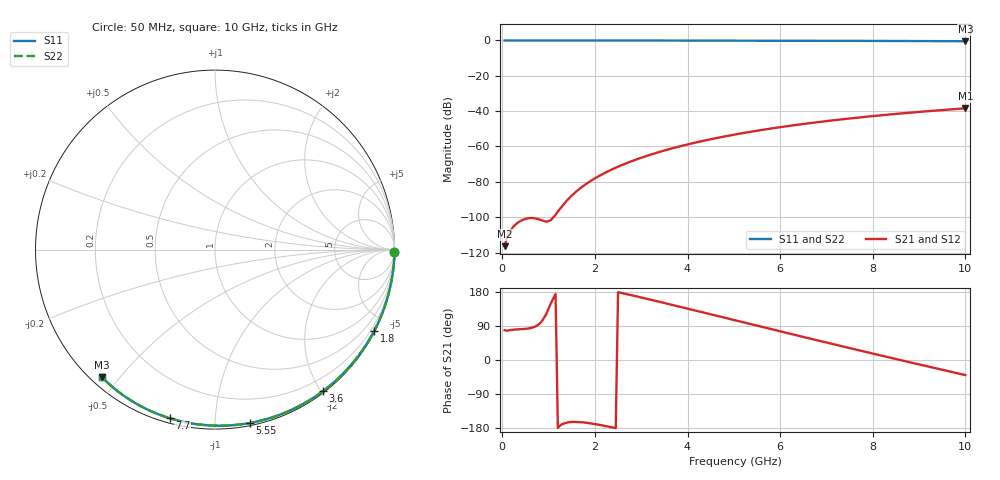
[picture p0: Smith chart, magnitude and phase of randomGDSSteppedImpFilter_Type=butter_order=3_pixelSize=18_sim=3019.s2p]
! freq	dB(S11)	phase(S11)	dB(S12)	phase(S12)
!  dB(S21)	phase(S21)	dB(S22)	phase(S22)
!S-par simulation data
#  GHz  S  DB  R 50
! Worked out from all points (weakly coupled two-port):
!   200 points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, 50 MHz to 10 GHz, reference 50 ohm
!   highest |S21| = -38.41 dB at 10 GHz (marker M1); lowest = -116.4 dB at 50 MHz (marker M2)
!   lowest |S11| = -0.4 dB at 10 GHz (marker M3), VSWR 39.07, Z = 1.54 - j22.5 ohm
!   |S11| at or under -10 dB: nowhere
!   |S22| runs from -0.4 to 0.0 dB; largest |S21 - S12| = 0
!   S11 on the Smith chart (normalised r, x): 50 MHz: open; 1.8 GHz: 0.04, -4.17; 3.6 GHz: 0.02, -2.02; 5.55 GHz: 0.02, -1.22; 7.7 GHz: 0.02, -0.77; 10 GHz: 0.03, -0.45
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0.05  -0.00 -0.8  -116.40 78.7  -116.40 78.7  -0.00 -0.8
0.9  -0.02 -13.6  -102.20 111.0  -102.20 111.0  -0.02 -13.6
1.75  -0.03 -26.2  -82.31 -164.6  -82.31 -164.6  -0.03 -26.2
1.8  -0.03 -26.9  -81.37 -165.4  -81.37 -165.4  -0.03 -26.9
1.85  -0.04 -27.7  -80.49 -166.1  -80.49 -166.1  -0.04 -27.7
1.9  -0.04 -28.4  -79.63 -167.0  -79.63 -167.0  -0.04 -28.4
2.05  -0.04 -30.6  -77.26 -170.0  -77.26 -170.0  -0.04 -30.6
2.25  -0.04 -33.5  -74.46 -174.7  -74.46 -174.7  -0.04 -33.5
2.45  -0.05 -36.4  -71.99 -179.8  -71.99 -179.8  -0.05 -36.4
2.65  -0.05 -39.3  -69.77 174.9  -69.77 174.9  -0.05 -39.3
3  -0.06 -44.3  -66.36 165.0  -66.36 165.0  -0.06 -44.3
3.4  -0.07 -49.9  -63.02 153.4  -63.02 153.4  -0.07 -49.9
3.6  -0.07 -52.7  -61.53 147.5  -61.53 147.5  -0.07 -52.7
4.3  -0.09 -62.3  -57.03 126.6  -57.03 126.6  -0.09 -62.3
5.05  -0.11 -72.2  -53.10 104.1  -53.10 104.1  -0.11 -72.2
5.55  -0.13 -78.7  -50.87 89.1  -50.87 89.1  -0.13 -78.7
6.1  -0.15 -85.7  -48.69 72.7  -48.69 72.7  -0.15 -85.7
6.7  -0.18 -93.1  -46.59 54.9  -46.59 54.9  -0.18 -93.1
7.7  -0.24 -105.1  -43.59 25.6  -43.59 25.6  -0.24 -105.1
8.35  -0.29 -112.7  -41.92 6.9  -41.92 6.9  -0.29 -112.7
9.15  -0.36 -121.9  -40.10 -15.9  -40.10 -15.9  -0.36 -121.9
10  -0.44 -131.5  -38.41 -39.9  -38.41 -39.9  -0.45 -131.5
